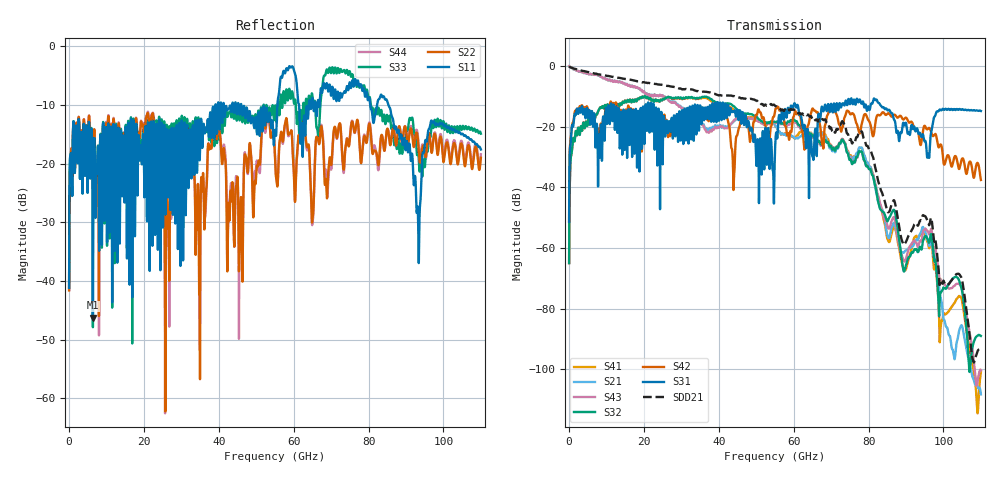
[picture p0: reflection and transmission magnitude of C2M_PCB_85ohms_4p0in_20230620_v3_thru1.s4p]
! Info: Touchstone file created by Circ.  Input file=C2M_PCB_85ohms_4p0in_20230620_v3.circ
# Hz S RI R 50
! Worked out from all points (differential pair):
!   11000 points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, 10 MHz to 110 GHz, reference 50 ohm
!   strongest paths, dB at 10 MHz, 27.51 GHz, 55.01 GHz, 82.51 GHz, 110 GHz:
!     S31: -51.4, -17.7, -27.9, -12.1, -14.8
!     S42: -51.2, -20.1, -14.9, -16.1, -37.6
!     S32: -65.0, -10.7, -18.5, -44.4, -89.0
!     S43: -0.1, -12.1, -18.9, -42.6, -100.3
!     S21: -0.1, -11.7, -19.5, -44.5, -108.3
!     S41: -65.0, -10.9, -19.7, -43.4, -101.0
!   taken as a pair (ports 3,1 in; 4,2 out), SDD21 dB: -0.1, -6.9, -13.2, -37.7, -94.1
!   lowest |S11| = -46.3 dB at 6.36 GHz (marker M1), VSWR 1.01, Z = 50.2 - j0.46 ohm
!   |S11| at or under -10 dB: start of sweep to 39.1 GHz; 46.01 GHz to 55.65 GHz (9.644 GHz wide, 19 % of centre); 85.25 GHz to end of sweep (the widest 3 of 16)
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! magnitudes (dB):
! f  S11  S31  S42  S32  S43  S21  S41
! 10 MHz  -41.2  -51.4  -51.2  -65.0  -0.1  -0.1  -65.0
! 1.34 GHz  -14.8  -17.0  -16.7  -24.5  -1.2  -1.2  -24.5
! 6.36 GHz  -46.3  -19.6  -16.9  -17.8  -2.7  -2.7  -17.8
! 54.56 GHz  -15.6  -36.1  -16.8  -18.4  -18.7  -18.9  -19.0
! 77.9 GHz  -6.5  -11.9  -21.0  -28.2  -28.3  -26.9  -27.0
! 89.47 GHz  -15.7  -19.3  -17.6  -67.8  -64.4  -61.5  -67.5
! 110 GHz  -17.6  -14.8  -37.6  -89.0  -100.3  -108.3  -101.0
